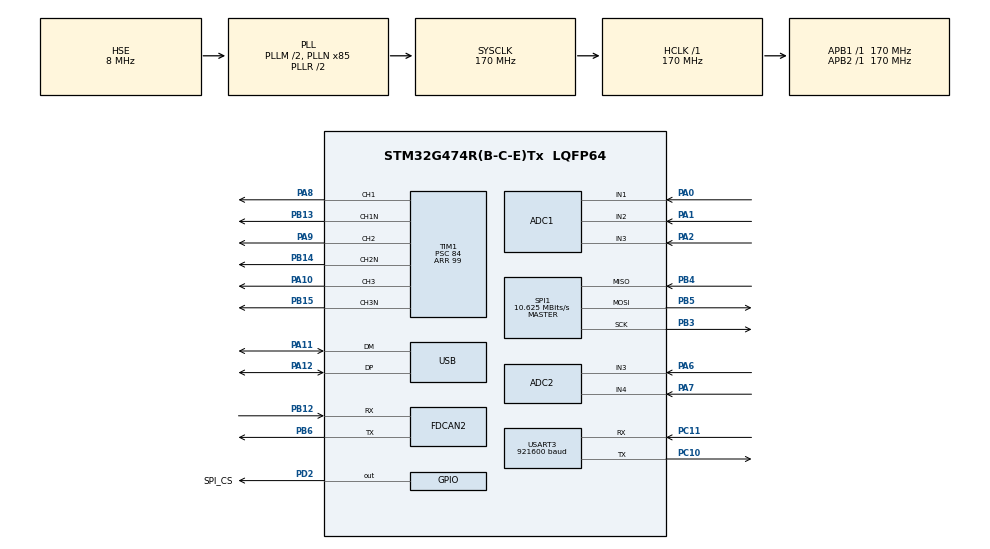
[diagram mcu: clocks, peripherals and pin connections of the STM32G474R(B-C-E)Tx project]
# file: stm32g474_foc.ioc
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ADC1.Channel-0\#ChannelRegularConversion=ADC_CHANNEL_1
ADC1.Channel-1\#ChannelRegularConversion=ADC_CHANNEL_2
ADC1.Channel-2\#ChannelRegularConversion=ADC_CHANNEL_3
ADC1.ClockPrescaler=ADC_CLOCK_ASYNC_DIV4
ADC1.ContinuousConvMode=ENABLE
ADC1.Mode=ADC_MODE_INDEPENDENT
ADC1.NbrOfConversion=3
ADC1.NbrOfConversionFlag=1
ADC1.OffsetNumber-0\#ChannelRegularConversion=ADC_OFFSET_NONE
ADC1.OffsetNumber-1\#ChannelRegularConversion=ADC_OFFSET_NONE
ADC1.OffsetNumber-2\#ChannelRegularConversion=ADC_OFFSET_NONE
ADC1.Rank-0\#ChannelRegularConversion=1
ADC1.Rank-1\#ChannelRegularConversion=2
ADC1.Rank-2\#ChannelRegularConversion=3
ADC1.SamplingTime-0\#ChannelRegularConversion=ADC_SAMPLETIME_47CYCLES_5
ADC1.SamplingTime-1\#ChannelRegularConversion=ADC_SAMPLETIME_47CYCLES_5
ADC1.SamplingTime-2\#ChannelRegularConversion=ADC_SAMPLETIME_47CYCLES_5
ADC1.master=1
ADC2.Channel-3\#ChannelRegularConversion=ADC_CHANNEL_4
ADC2.Channel-4\#ChannelRegularConversion=ADC_CHANNEL_3
ADC2.ClockPrescaler=ADC_CLOCK_ASYNC_DIV4
ADC2.ContinuousConvMode=ENABLE
ADC2.DMAContinuousRequests=DISABLE
ADC2.DataAlign=ADC_DATAALIGN_RIGHT
ADC2.EOCSelection=ADC_EOC_SINGLE_CONV
ADC2.EnableRegularConversion=ENABLE
ADC2.NbrOfConversion=2
ADC2.NbrOfConversionFlag=1
ADC2.OffsetNumber-3\#ChannelRegularConversion=ADC_OFFSET_NONE
ADC2.OffsetNumber-4\#ChannelRegularConversion=ADC_OFFSET_NONE
ADC2.OversamplingMode=DISABLE
ADC2.Rank-3\#ChannelRegularConversion=1
ADC2.Rank-4\#ChannelRegularConversion=2
ADC2.SamplingTime-3\#ChannelRegularConversion=ADC_SAMPLETIME_47CYCLES_5
ADC2.SamplingTime-4\#ChannelRegularConversion=ADC_SAMPLETIME_47CYCLES_5
Dma.Request0=USART3_TX
Dma.USART3_TX.0.Direction=DMA_MEMORY_TO_PERIPH
Dma.USART3_TX.0.EventEnable=DISABLE
Dma.USART3_TX.0.Instance=DMA1_Channel1
Dma.USART3_TX.0.MemDataAlignment=DMA_MDATAALIGN_BYTE
Dma.USART3_TX.0.MemInc=DMA_MINC_ENABLE
Dma.USART3_TX.0.Mode=DMA_NORMAL
Dma.USART3_TX.0.PeriphDataAlignment=DMA_PDATAALIGN_BYTE
Dma.USART3_TX.0.PeriphInc=DMA_PINC_DISABLE
Dma.USART3_TX.0.Polarity=HAL_DMAMUX_REQ_GEN_RISING
Dma.USART3_TX.0.Priority=DMA_PRIORITY_LOW
Dma.USART3_TX.0.RequestNumber=1
Dma.USART3_TX.0.SignalID=NONE
Dma.USART3_TX.0.SyncEnable=DISABLE
Dma.USART3_TX.0.SyncPolarity=HAL_DMAMUX_SYNC_NO_EVENT
Dma.USART3_TX.0.SyncRequestNumber=1
Dma.USART3_TX.0.SyncSignalID=NONE
FDCAN2.CalculateBaudRateNominal=500000
FDCAN2.CalculateTimeBitNominal=2000
FDCAN2.CalculateTimeQuantumNominal=100.0
FDCAN2.NominalPrescaler=17
FDCAN2.NominalTimeSeg1=10
FDCAN2.NominalTimeSeg2=9
Mcu.Family=STM32G4
Mcu.Name=STM32G474R(B-C-E)Tx
Mcu.Package=LQFP64
NVIC.ADC1_2_IRQn=true\:0\:0\:false\:false\:true\:true\:true\:true
NVIC.DMA1_Channel1_IRQn=true\:0\:0\:false\:false\:true\:false\:true\:true
NVIC.FDCAN2_IT0_IRQn=true\:0\:0\:false\:false\:true\:true\:true\:true
NVIC.PriorityGroup=NVIC_PRIORITYGROUP_4
NVIC.USART3_IRQn=true\:0\:0\:false\:false\:true\:true\:true\:true
NVIC.USB_LP_IRQn=true\:0\:0\:false\:false\:true\:false\:true\:true
PA0.GPIO_Pd=GPIO_PULLDOWN
PA0.Mode=IN1-Single-Ended
PA0.Signal=ADC1_IN1
PA1.GPIO_Pd=GPIO_PULLDOWN
PA1.Mode=IN2-Single-Ended
PA1.Signal=ADC1_IN2
PA10.Signal=S_TIM1_CH3
PA11.Mode=Device
PA11.Signal=USB_DM
PA12.Mode=Device
PA12.Signal=USB_DP
PA13.Mode=Serial_Wire
PA13.Signal=SYS_JTMS-SWDIO
PA14.Mode=Serial_Wire
PA14.Signal=SYS_JTCK-SWCLK
PA2.GPIO_Pd=GPIO_PULLDOWN
PA2.Mode=IN3-Single-Ended
PA2.Signal=ADC1_IN3
PA6.GPIO_Pd=GPIO_PULLDOWN
PA6.Mode=IN3-Single-Ended
PA6.Signal=ADC2_IN3
PA7.GPIO_Mode=GPIO_MODE_ANALOG
PA7.GPIO_Pd=GPIO_PULLDOWN
PA7.Mode=IN4-Single-Ended
PA7.Signal=ADC2_IN4
PA8.Signal=S_TIM1_CH1
PA9.Signal=S_TIM1_CH2
PB12.Mode=FDCAN_Activate
PB12.Signal=FDCAN2_RX
PB13.Mode=PWM Generation1 CH1 CH1N
PB13.Signal=TIM1_CH1N
PB14.Mode=PWM Generation2 CH2 CH2N
PB14.Signal=TIM1_CH2N
PB15.Mode=PWM Generation3 CH3 CH3N
PB15.Signal=TIM1_CH3N
PB3.Mode=Full_Duplex_Master
PB3.Signal=SPI1_SCK
PB4.Mode=Full_Duplex_Master
PB4.Signal=SPI1_MISO
PB5.Mode=Full_Duplex_Master
PB5.Signal=SPI1_MOSI
PB6.Mode=FDCAN_Activate
PB6.Signal=FDCAN2_TX
PC10.Mode=Asynchronous
PC10.Signal=USART3_TX
PC11.Mode=Asynchronous
PC11.Signal=USART3_RX
PD2.GPIO_Label=SPI_CS
PD2.PinState=GPIO_PIN_SET
PD2.Signal=GPIO_Output
PF0-OSC_IN.Mode=HSE-External-Oscillator
PF0-OSC_IN.Signal=RCC_OSC_IN
PF1-OSC_OUT.Mode=HSE-External-Oscillator
PF1-OSC_OUT.Signal=RCC_OSC_OUT
ProjectManager.HeapSize=0x200
ProjectManager.StackSize=0x400
ProjectManager.TargetToolchain=Makefile
RCC.ADC12CLockSelection=RCC_ADC12CLKSOURCE_PLL
RCC.ADC12Freq_Value=170000000
RCC.ADC345Freq_Value=170000000
RCC.AHBFreq_Value=170000000
RCC.APB1Freq_Value=170000000
RCC.APB1TimFreq_Value=170000000
RCC.APB2Freq_Value=170000000
RCC.APB2TimFreq_Value=170000000
RCC.CK48CLockSelection=RCC_USBCLKSOURCE_HSI48
RCC.CortexFreq_Value=170000000
RCC.EXTERNAL_CLOCK_VALUE=12288000
RCC.HCLKFreq_Value=170000000
RCC.HSE_VALUE=8000000
RCC.HSI48_VALUE=48000000
RCC.HSI_VALUE=16000000
RCC.LSE_VALUE=32768
RCC.PLLM=RCC_PLLM_DIV2
RCC.PLLN=85
RCC.PLLQ=RCC_PLLQ_DIV4
RCC.PLLSourceVirtual=RCC_PLLSOURCE_HSE
RCC.SYSCLKFreq_VALUE=170000000
RCC.SYSCLKSource=RCC_SYSCLKSOURCE_PLLCLK
RCC.USBFreq_Value=48000000
RCC.VCOOutputFreq_Value=340000000
SH.S_TIM1_CH1.0=TIM1_CH1,PWM Generation1 CH1 CH1N
SH.S_TIM1_CH2.0=TIM1_CH2,PWM Generation2 CH2 CH2N
SH.S_TIM1_CH3.0=TIM1_CH3,PWM Generation3 CH3 CH3N
SPI1.BaudRatePrescaler=SPI_BAUDRATEPRESCALER_16
SPI1.CLKPhase=SPI_PHASE_2EDGE
SPI1.CLKPolarity=SPI_POLARITY_HIGH
SPI1.CalculateBaudRate=10.625 MBits/s
SPI1.DataSize=SPI_DATASIZE_16BIT
SPI1.Direction=SPI_DIRECTION_2LINES
SPI1.Mode=SPI_MODE_MASTER
SPI1.VirtualType=VM_MASTER
TIM1.Channel-PWM\ Generation1\ CH1\ CH1N=TIM_CHANNEL_1
TIM1.Channel-PWM\ Generation2\ CH2\ CH2N=TIM_CHANNEL_2
TIM1.Channel-PWM\ Generation3\ CH3\ CH3N=TIM_CHANNEL_3
TIM1.PeriodNoDither=99
TIM1.Prescaler=84
TIM2.PeriodNoDither=65535
TIM2.Prescaler=169
USART3.BaudRate=921600
USART3.VirtualMode-Asynchronous=VM_ASYNC
USB_DEVICE.CLASS_NAME_FS=CDC
USB_DEVICE.VirtualMode=Cdc
USB_DEVICE.VirtualModeFS=Cdc_FS
VP_SYS_VS_DBSignals.Mode=DisableDeadBatterySignals
VP_TIM2_VS_ClockSourceINT.Mode=Internal
VP_USB_DEVICE_VS_USB_DEVICE_CDC_FS.Mode=CDC_FS
board=custom

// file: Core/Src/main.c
/* USER CODE BEGIN Header */
/**
  ******************************************************************************
  * @file           : main.c
  * @brief          : Main program body
  ******************************************************************************
  * @attention
  *
  * Copyright (c) 2026 STMicroelectronics.
  * All rights reserved.
  *
  * This software is licensed under terms that can be found in the LICENSE file
  * in the root directory of this software component.
  * If no LICENSE file comes with this software, it is provided AS-IS.
  *
  ******************************************************************************
  */
/* USER CODE END Header */
#include "main.h"
#include "adc.h"
#include "dma.h"
#include "fdcan.h"
#include "spi.h"
#include "tim.h"
#include "usart.h"
#include "usb_device.h"
#include "gpio.h"

/* USER CODE BEGIN PV */
static uint32_t can_tx_count = 0;
/* USER CODE END PV */

void SystemClock_Config(void);

int main(void)
{

  /* MCU Configuration--------------------------------------------------------*/

  /* Reset of all peripherals, Initializes the Flash interface and the Systick. */
  HAL_Init();

  /* Configure the system clock */
  SystemClock_Config();

  /* Initialize all configured peripherals */
  MX_GPIO_Init();
  MX_DMA_Init();
  MX_ADC1_Init();
  MX_ADC2_Init();
  MX_TIM1_Init();
  MX_USB_Device_Init();
  MX_SPI1_Init();
  MX_FDCAN2_Init();
  MX_USART3_UART_Init();
  MX_TIM2_Init();
  /* USER CODE BEGIN 2 */
  /* 启动 FDCAN，确保外设初始化完成后再 Start */
  if (HAL_FDCAN_Start(&hfdcan1) != HAL_OK)
  {
    Error_Handler();
  }
  /* USER CODE END 2 */

  /* Infinite loop */
  while (1)
  {

    /* USER CODE BEGIN 3 */
    /* 每 100 ms 发送一帧 CAN FD 报文 */
    static uint32_t last_can_tx = 0;
    if (HAL_GetTick() - last_can_tx >= 100U)
    {
      last_can_tx = HAL_GetTick();

      FDCAN_TxHeaderTypeDef tx_hdr;
      uint8_t tx_data[8];

      tx_hdr.Identifier          = 0x123;
      tx_hdr.IdType              = FDCAN_STANDARD_ID;
      tx_hdr.TxFrameType         = FDCAN_DATA_FRAME;
      tx_hdr.DataLength          = FDCAN_DLC_BYTES_8;
      tx_hdr.ErrorStateIndicator = FDCAN_ESI_ACTIVE;
      tx_hdr.BitRateSwitch       = FDCAN_BRS_OFF;  /* 普通 CAN */
      tx_hdr.FDFormat            = FDCAN_CLASSIC_CAN; /* 普通 CAN */
      tx_hdr.TxEventFifoControl  = FDCAN_NO_TX_EVENTS;
      tx_hdr.MessageMarker       = 0;

      /* 填充 8 字节数据: [计数高4字节 | 计数低4字节] */
      can_tx_count++;
      tx_data[0] = (uint8_t)(can_tx_count >> 24);
      tx_data[1] = (uint8_t)(can_tx_count >> 16);
      tx_data[2] = (uint8_t)(can_tx_count >>  8);
      tx_data[3] = (uint8_t)(can_tx_count >>  0);
      tx_data[4] = (uint8_t)(HAL_GetTick() >> 24);
      tx_data[5] = (uint8_t)(HAL_GetTick() >> 16);
      tx_data[6] = (uint8_t)(HAL_GetTick() >>  8);
      tx_data[7] = (uint8_t)(HAL_GetTick() >>  0);

      HAL_FDCAN_AddMessageToTxFifoQ(&hfdcan1, &tx_hdr, tx_data);
    }
  }
  /* USER CODE END 3 */
}

void SystemClock_Config(void)
{
  RCC_OscInitTypeDef RCC_OscInitStruct = {0};
  RCC_ClkInitTypeDef RCC_ClkInitStruct = {0};

  /** Configure the main internal regulator output voltage
  */
  HAL_PWREx_ControlVoltageScaling(PWR_REGULATOR_VOLTAGE_SCALE1_BOOST);

  /** Initializes the RCC Oscillators according to the specified parameters
  * in the RCC_OscInitTypeDef structure.
  */
  RCC_OscInitStruct.OscillatorType = RCC_OSCILLATORTYPE_HSI48|RCC_OSCILLATORTYPE_HSE;
  RCC_OscInitStruct.HSEState = RCC_HSE_ON;
  RCC_OscInitStruct.HSI48State = RCC_HSI48_ON;
  RCC_OscInitStruct.PLL.PLLState = RCC_PLL_ON;
  RCC_OscInitStruct.PLL.PLLSource = RCC_PLLSOURCE_HSE;
  RCC_OscInitStruct.PLL.PLLM = RCC_PLLM_DIV2;
  RCC_OscInitStruct.PLL.PLLN = 85;
  RCC_OscInitStruct.PLL.PLLP = RCC_PLLP_DIV2;
  RCC_OscInitStruct.PLL.PLLQ = RCC_PLLQ_DIV4;
  RCC_OscInitStruct.PLL.PLLR = RCC_PLLR_DIV2;
  if (HAL_RCC_OscConfig(&RCC_OscInitStruct) != HAL_OK)
  {
    Error_Handler();
  }

  /** Initializes the CPU, AHB and APB buses clocks
  */
  RCC_ClkInitStruct.ClockType = RCC_CLOCKTYPE_HCLK|RCC_CLOCKTYPE_SYSCLK
                              |RCC_CLOCKTYPE_PCLK1|RCC_CLOCKTYPE_PCLK2;
  RCC_ClkInitStruct.SYSCLKSource = RCC_SYSCLKSOURCE_PLLCLK;
  RCC_ClkInitStruct.AHBCLKDivider = RCC_SYSCLK_DIV1;
  RCC_ClkInitStruct.APB1CLKDivider = RCC_HCLK_DIV1;
  RCC_ClkInitStruct.APB2CLKDivider = RCC_HCLK_DIV1;

  if (HAL_RCC_ClockConfig(&RCC_ClkInitStruct, FLASH_LATENCY_4) != HAL_OK)
  {
    Error_Handler();
  }
}

void Error_Handler(void)
{
  __disable_irq();
  while (1)
  {
  }
}
